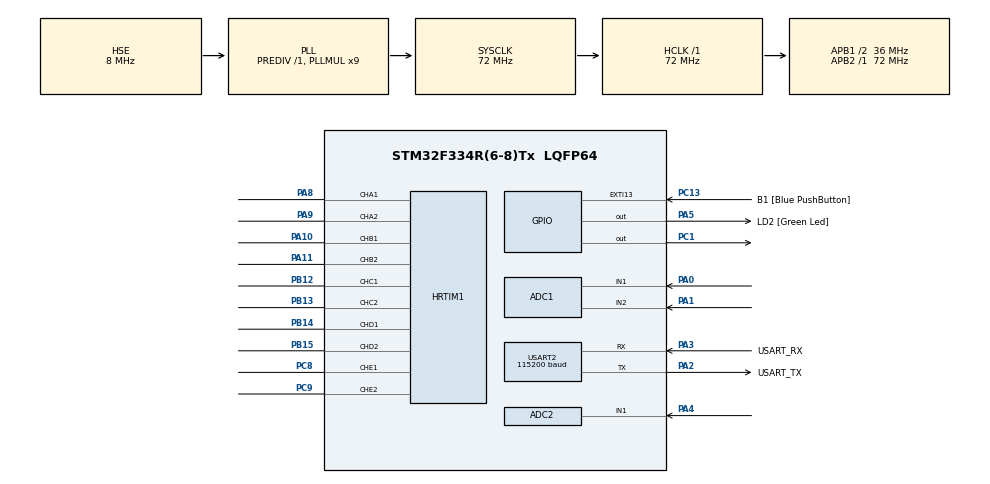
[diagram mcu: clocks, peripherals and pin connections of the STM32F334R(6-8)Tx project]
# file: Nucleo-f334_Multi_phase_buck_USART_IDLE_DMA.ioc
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ADC1.Channel-8\#ChannelRegularConversion=ADC_CHANNEL_1
ADC1.Channel-9\#ChannelRegularConversion=ADC_CHANNEL_2
ADC1.ContinuousConvMode=DISABLE
ADC1.DMAContinuousRequests=ENABLE
ADC1.DiscontinuousConvMode=ENABLE
ADC1.EOCSelection=ADC_EOC_SEQ_CONV
ADC1.EnableInjectedConversion=DISABLE
ADC1.EnableRegularConversion=ENABLE
ADC1.ExternalTrigConv=ADC_EXTERNALTRIGCONVHRTIM_TRG1
ADC1.Mode=ADC_MODE_INDEPENDENT
ADC1.NbrOfConversion=2
ADC1.NbrOfConversionFlag=1
ADC1.NbrOfDiscConversion=2
ADC1.Offset-8\#ChannelRegularConversion=0
ADC1.Offset-9\#ChannelRegularConversion=0
ADC1.OffsetNumber-8\#ChannelRegularConversion=ADC_OFFSET_NONE
ADC1.OffsetNumber-9\#ChannelRegularConversion=ADC_OFFSET_NONE
ADC1.Rank-8\#ChannelRegularConversion=1
ADC1.Rank-9\#ChannelRegularConversion=2
ADC1.SamplingTime-8\#ChannelRegularConversion=ADC_SAMPLETIME_7CYCLES_5
ADC1.SamplingTime-9\#ChannelRegularConversion=ADC_SAMPLETIME_7CYCLES_5
ADC1.SubFamily=STM32F334x8
ADC1.master=1
ADC2.Channel-1\#ChannelRegularConversion=ADC_CHANNEL_1
ADC2.EnableInjectedConversion=DISABLE
ADC2.ExternalTrigConv=ADC_EXTERNALTRIGCONVHRTIM_TRG1
ADC2.NbrOfConversion=1
ADC2.NbrOfConversionFlag=1
ADC2.Offset-1\#ChannelRegularConversion=0
ADC2.OffsetNumber-1\#ChannelRegularConversion=ADC_OFFSET_NONE
ADC2.Rank-1\#ChannelRegularConversion=1
ADC2.SamplingTime-1\#ChannelRegularConversion=ADC_SAMPLETIME_4CYCLES_5
ADC2.SubFamily=STM32F334x8
Dma.ADC1.2.Direction=DMA_PERIPH_TO_MEMORY
Dma.ADC1.2.Instance=DMA1_Channel1
Dma.ADC1.2.MemDataAlignment=DMA_MDATAALIGN_HALFWORD
Dma.ADC1.2.MemInc=DMA_MINC_ENABLE
Dma.ADC1.2.Mode=DMA_CIRCULAR
Dma.ADC1.2.PeriphDataAlignment=DMA_PDATAALIGN_HALFWORD
Dma.ADC1.2.PeriphInc=DMA_PINC_DISABLE
Dma.ADC1.2.Priority=DMA_PRIORITY_LOW
Dma.Request0=USART2_RX
Dma.Request1=USART2_TX
Dma.Request2=ADC1
Dma.USART2_RX.0.Direction=DMA_PERIPH_TO_MEMORY
Dma.USART2_RX.0.Instance=DMA1_Channel6
Dma.USART2_RX.0.MemDataAlignment=DMA_MDATAALIGN_BYTE
Dma.USART2_RX.0.MemInc=DMA_MINC_ENABLE
Dma.USART2_RX.0.Mode=DMA_NORMAL
Dma.USART2_RX.0.PeriphDataAlignment=DMA_PDATAALIGN_BYTE
Dma.USART2_RX.0.PeriphInc=DMA_PINC_DISABLE
Dma.USART2_RX.0.Priority=DMA_PRIORITY_LOW
Dma.USART2_TX.1.Direction=DMA_MEMORY_TO_PERIPH
Dma.USART2_TX.1.Instance=DMA1_Channel7
Dma.USART2_TX.1.MemDataAlignment=DMA_MDATAALIGN_BYTE
Dma.USART2_TX.1.MemInc=DMA_MINC_ENABLE
Dma.USART2_TX.1.Mode=DMA_NORMAL
Dma.USART2_TX.1.PeriphDataAlignment=DMA_PDATAALIGN_BYTE
Dma.USART2_TX.1.PeriphInc=DMA_PINC_DISABLE
Dma.USART2_TX.1.Priority=DMA_PRIORITY_LOW
HRTIM1.ADCTrigger1_Source1=HRTIM_ADCTRIGGEREVENT13_MASTER_CMP1
HRTIM1.ADCTrigger1_Source2=HRTIM_ADCTRIGGEREVENT13_MASTER_CMP3
HRTIM1.ADCTrigger2_Source1=HRTIM_ADCTRIGGEREVENT24_TIMERC_CMP2
HRTIM1.ADCTrigger2_Source2=HRTIM_ADCTRIGGEREVENT24_TIMERD_CMP2
HRTIM1.ADCTrigger3_Source1=HRTIM_ADCTRIGGEREVENT13_TIMERE_CMP2
HRTIM1.ADCTrigger_Id1=HRTIM_ADCTRIGGER_1
HRTIM1.ADCTrigger_Id2=__NULL
HRTIM1.ADCTrigger_Id3=__NULL
HRTIM1.AutoDelayedMode2-Output_TC1TC2=HRTIM_AUTODELAYEDMODE_REGULAR
HRTIM1.CompareUnit1-MasterTimer=HRTIM_COMPAREUNIT_1
HRTIM1.CompareUnit1-Output_TA1TA2=HRTIM_COMPAREUNIT_1
HRTIM1.CompareUnit1-Output_TB1TB2=HRTIM_COMPAREUNIT_1
HRTIM1.CompareUnit1-Output_TC1TC2=HRTIM_COMPAREUNIT_1
HRTIM1.CompareUnit1-Output_TD1TD2=HRTIM_COMPAREUNIT_1
HRTIM1.CompareUnit1-Output_TE1TE2=HRTIM_COMPAREUNIT_1
HRTIM1.CompareUnit2-MasterTimer=HRTIM_COMPAREUNIT_2
HRTIM1.CompareUnit2-Output_TA1TA2=__NULL
HRTIM1.CompareUnit2-Output_TB1TB2=__NULL
HRTIM1.CompareUnit2-Output_TC1TC2=__NULL
HRTIM1.CompareUnit2-Output_TD1TD2=__NULL
HRTIM1.CompareUnit2-Output_TE1TE2=__NULL
HRTIM1.CompareUnit3-MasterTimer=HRTIM_COMPAREUNIT_3
HRTIM1.CompareValue1-MasterTimer=500
HRTIM1.CompareValue1-Output_TA1TA2=0x4FDF
HRTIM1.CompareValue1-Output_TB1TB2=0x4FDF
HRTIM1.CompareValue1-Output_TC1TC2=0x5FDF
HRTIM1.CompareValue1-Output_TD1TD2=0x5FDF
HRTIM1.CompareValue1-Output_TE1TE2=0x6FDF
HRTIM1.CompareValue2-MasterTimer=32000
HRTIM1.CompareValue2-Output_TA1TA2=0x4FEF
HRTIM1.CompareValue2-Output_TB1TB2=0x4FEF
HRTIM1.CompareValue2-Output_TC1TC2=0x5FEF
HRTIM1.CompareValue2-Output_TD1TD2=0x5FEF
HRTIM1.CompareValue2-Output_TE1TE2=0x6FEF
HRTIM1.CompareValue3-MasterTimer=32500
HRTIM1.DeadTimeInsertion-Output_TA1TA2=HRTIM_TIMDEADTIMEINSERTION_ENABLED
HRTIM1.DeadTimeInsertion-Output_TB1TB2=HRTIM_TIMDEADTIMEINSERTION_ENABLED
HRTIM1.DeadTimeInsertion-Output_TC1TC2=HRTIM_TIMDEADTIMEINSERTION_ENABLED
HRTIM1.DeadTimeInsertion-Output_TD1TD2=HRTIM_TIMDEADTIMEINSERTION_ENABLED
HRTIM1.DeadTimeInsertion-Output_TE1TE2=HRTIM_TIMDEADTIMEINSERTION_ENABLED
HRTIM1.Deadtimeconfig-Output_TA1TA2=HRTIM_TIMERINDEX_TIMER_A
HRTIM1.Event_EEV1=__NULL
HRTIM1.FallingLock-Output_TA1TA2=HRTIM_TIMDEADTIME_FALLINGLOCK_READONLY
HRTIM1.FallingLock-Output_TB1TB2=HRTIM_TIMDEADTIME_FALLINGLOCK_READONLY
HRTIM1.FallingLock-Output_TC1TC2=HRTIM_TIMDEADTIME_FALLINGLOCK_READONLY
HRTIM1.FallingLock-Output_TD1TD2=HRTIM_TIMDEADTIME_FALLINGLOCK_READONLY
HRTIM1.FallingLock-Output_TE1TE2=HRTIM_TIMDEADTIME_FALLINGLOCK_READONLY
HRTIM1.FallingSignLock-Output_TA1TA2=HRTIM_TIMDEADTIME_FALLINGSIGNLOCK_READONLY
HRTIM1.FallingSignLock-Output_TB1TB2=HRTIM_TIMDEADTIME_FALLINGSIGNLOCK_READONLY
HRTIM1.FallingSignLock-Output_TC1TC2=HRTIM_TIMDEADTIME_FALLINGSIGNLOCK_READONLY
HRTIM1.FallingSignLock-Output_TD1TD2=HRTIM_TIMDEADTIME_FALLINGSIGNLOCK_READONLY
HRTIM1.FallingSignLock-Output_TE1TE2=HRTIM_TIMDEADTIME_FALLINGSIGNLOCK_READONLY
HRTIM1.FallingValue-Output_TA1TA2=100
HRTIM1.FallingValue-Output_TB1TB2=100
HRTIM1.FallingValue-Output_TC1TC2=100
HRTIM1.FallingValue-Output_TD1TD2=100
HRTIM1.FallingValue-Output_TE1TE2=100
HRTIM1.HalfModeEnable-Output_TA1TA2=HRTIM_HALFMODE_DISABLED
HRTIM1.ModeTimeBase-Output_TA1TA2=HRTIM_MODE_SINGLESHOT_RETRIGGERABLE
HRTIM1.NumberADCTriggerSource1=2
HRTIM1.NumberADCTriggerSource2=2
HRTIM1.NumberADCTriggerSource3=1
HRTIM1.NumberResetSource1-Output_TA1TA2=1
HRTIM1.NumberResetSource1-Output_TB1TB2=1
HRTIM1.NumberResetSource1-Output_TC1TC2=1
HRTIM1.NumberResetSource1-Output_TD1TD2=1
HRTIM1.NumberResetSource1-Output_TE1TE2=1
HRTIM1.NumberResetTrigger-Output_TA1TA2=1
HRTIM1.NumberResetTrigger-Output_TB1TB2=1
HRTIM1.NumberResetTrigger-Output_TC1TC2=1
HRTIM1.NumberResetTrigger-Output_TD1TD2=1
HRTIM1.NumberResetTrigger-Output_TE1TE2=1
HRTIM1.NumberSetSource1-Output_TA1TA2=1
HRTIM1.NumberSetSource1-Output_TB1TB2=1
HRTIM1.NumberSetSource1-Output_TC1TC2=1
HRTIM1.NumberSetSource1-Output_TD1TD2=1
HRTIM1.NumberSetSource1-Output_TE1TE2=1
HRTIM1.ORingUpdateSource_ADCTrigger1=HRTIM_ADCTRIGGERUPDATE_MASTER
HRTIM1.ORingUpdateSource_ADCTrigger2=HRTIM_ADCTRIGGERUPDATE_TIMER_C
HRTIM1.ORingUpdateSource_ADCTrigger3=HRTIM_ADCTRIGGERUPDATE_TIMER_E
HRTIM1.Periode_MASTER=64000
HRTIM1.ResetOutput1_Source1-Output_TA1TA2=HRTIM_OUTPUTRESET_TIMCMP1
HRTIM1.ResetOutput1_Source1-Output_TB1TB2=HRTIM_OUTPUTRESET_TIMCMP1
HRTIM1.ResetOutput1_Source1-Output_TC1TC2=HRTIM_OUTPUTRESET_TIMCMP1
HRTIM1.ResetOutput1_Source1-Output_TD1TD2=HRTIM_OUTPUTRESET_TIMCMP1
HRTIM1.ResetOutput1_Source1-Output_TE1TE2=HRTIM_OUTPUTRESET_TIMCMP1
HRTIM1.ResetTrigger1-Output_TA1TA2=HRTIM_TIMRESETTRIGGER_MASTER_PER
HRTIM1.ResetTrigger1-Output_TB1TB2=HRTIM_TIMRESETTRIGGER_MASTER_CMP2
HRTIM1.ResetTrigger1-Output_TC1TC2=HRTIM_TIMRESETTRIGGER_MASTER_PER
HRTIM1.ResetTrigger1-Output_TD1TD2=HRTIM_TIMRESETTRIGGER_MASTER_CMP2
HRTIM1.ResetTrigger1-Output_TE1TE2=HRTIM_TIMRESETTRIGGER_MASTER_PER
HRTIM1.RisingLock-Output_TA1TA2=HRTIM_TIMDEADTIME_RISINGLOCK_READONLY
HRTIM1.RisingLock-Output_TB1TB2=HRTIM_TIMDEADTIME_RISINGLOCK_READONLY
HRTIM1.RisingLock-Output_TC1TC2=HRTIM_TIMDEADTIME_RISINGLOCK_READONLY
HRTIM1.RisingLock-Output_TD1TD2=HRTIM_TIMDEADTIME_RISINGLOCK_READONLY
HRTIM1.RisingLock-Output_TE1TE2=HRTIM_TIMDEADTIME_RISINGLOCK_READONLY
HRTIM1.RisingSignLock-Output_TA1TA2=HRTIM_TIMDEADTIME_RISINGSIGNLOCK_READONLY
HRTIM1.RisingSignLock-Output_TB1TB2=HRTIM_TIMDEADTIME_RISINGSIGNLOCK_READONLY
HRTIM1.RisingSignLock-Output_TC1TC2=HRTIM_TIMDEADTIME_RISINGSIGNLOCK_READONLY
HRTIM1.RisingSignLock-Output_TD1TD2=HRTIM_TIMDEADTIME_RISINGSIGNLOCK_READONLY
HRTIM1.RisingSignLock-Output_TE1TE2=HRTIM_TIMDEADTIME_RISINGSIGNLOCK_READONLY
HRTIM1.RisingValue-Output_TA1TA2=100
HRTIM1.RisingValue-Output_TB1TB2=100
HRTIM1.RisingValue-Output_TC1TC2=100
HRTIM1.RisingValue-Output_TD1TD2=100
HRTIM1.RisingValue-Output_TE1TE2=100
HRTIM1.SetOutput1_Source1-Output_TA1TA2=HRTIM_OUTPUTSET_TIMPER
HRTIM1.SetOutput1_Source1-Output_TB1TB2=HRTIM_OUTPUTSET_TIMPER
HRTIM1.SetOutput1_Source1-Output_TC1TC2=HRTIM_OUTPUTSET_TIMPER
HRTIM1.SetOutput1_Source1-Output_TD1TD2=HRTIM_OUTPUTSET_TIMPER
HRTIM1.SetOutput1_Source1-Output_TE1TE2=HRTIM_OUTPUTSET_TIMPER
Mcu.Family=STM32F3
Mcu.Name=STM32F334R(6-8)Tx
Mcu.Package=LQFP64
NVIC.DMA1_Channel1_IRQn=true\:0\:0\:false\:false\:true\:false\:true
NVIC.DMA1_Channel6_IRQn=true\:0\:0\:false\:false\:true\:false\:true
NVIC.DMA1_Channel7_IRQn=true\:0\:0\:false\:false\:true\:false\:true
NVIC.PriorityGroup=NVIC_PRIORITYGROUP_0
NVIC.USART2_IRQn=true\:0\:0\:false\:false\:true\:true\:true
PA0.Mode=IN1-Single-Ended
PA0.Signal=ADC1_IN1
PA1.Mode=IN2-Single-Ended
PA1.Signal=ADC1_IN2
PA10.Mode=Output_TB1TB2
PA10.Signal=HRTIM1_CHB1
PA11.Mode=Output_TB1TB2
PA11.Signal=HRTIM1_CHB2
PA13.GPIO_Label=TMS
PA13.Mode=Serial_Wire
PA13.Signal=SYS_JTMS-SWDIO
PA14.GPIO_Label=TCK
PA14.Mode=Serial_Wire
PA14.Signal=SYS_JTCK-SWCLK
PA2.GPIO_Label=USART_TX
PA2.Mode=Asynchronous
PA2.Signal=USART2_TX
PA3.GPIO_Label=USART_RX
PA3.Mode=Asynchronous
PA3.Signal=USART2_RX
PA4.Mode=IN1-Single-Ended
PA4.Signal=ADC2_IN1
PA5.GPIO_Label=LD2 [Green Led]
PA5.Signal=GPIO_Output
PA8.Mode=Output_TA1TA2
PA8.Signal=HRTIM1_CHA1
PA9.Mode=Output_TA1TA2
PA9.Signal=HRTIM1_CHA2
PB12.Mode=Output_TC1TC2
PB12.Signal=HRTIM1_CHC1
PB13.Mode=Output_TC1TC2
PB13.Signal=HRTIM1_CHC2
PB14.Mode=Output_TD1TD2
PB14.Signal=HRTIM1_CHD1
PB15.Mode=Output_TD1TD2
PB15.Signal=HRTIM1_CHD2
PB3.GPIO_Label=SWO
PB3.Signal=SYS_JTDO-TRACESWO
PC1.Signal=GPIO_Output
PC13.GPIO_Label=B1 [Blue PushButton]
PC13.GPIO_ModeDefaultEXTI=GPIO_MODE_IT_FALLING
PC13.Signal=GPXTI13
PC14\ /\ OSC32_IN.Mode=LSE-External-Oscillator
PC14\ /\ OSC32_IN.Signal=RCC_OSC32_IN
PC15\ /\ OSC32_OUT.GPIO_Label=RCC_OSC32_OUT
PC15\ /\ OSC32_OUT.Mode=LSE-External-Oscillator
PC15\ /\ OSC32_OUT.Signal=RCC_OSC32_OUT
PC8.Mode=Output_TE1TE2
PC8.Signal=HRTIM1_CHE1
PC9.Mode=Output_TE1TE2
PC9.Signal=HRTIM1_CHE2
PF0\ /\ OSC_IN.Mode=HSE-External-Clock-Source
PF0\ /\ OSC_IN.Signal=RCC_OSC_IN
PF1\ /\ OSC_OUT.Signal=RCC_OSC_OUT
ProjectManager.HeapSize=0x200
ProjectManager.StackSize=0x400
ProjectManager.TargetToolchain=SW4STM32
RCC.AHBFreq_Value=72000000
RCC.APB1CLKDivider=RCC_HCLK_DIV2
RCC.APB1Freq_Value=36000000
RCC.APB1TimFreq_Value=72000000
RCC.APB2Freq_Value=72000000
RCC.APB2TimFreq_Value=72000000
RCC.CortexFreq_Value=72000000
RCC.FLatency-AdvancedSettings=FLASH_LATENCY_2
RCC.HCLKFreq_Value=72000000
RCC.HRTIMSelection=RCC_HRTIM1CLK_PLLCLK
RCC.HSE_VALUE=8000000
RCC.HSI_VALUE=8000000
RCC.PLLMUL=RCC_PLL_MUL9
RCC.PLLSourceVirtual=RCC_PLLSOURCE_HSE
RCC.SYSCLKFreq_VALUE=72000000
RCC.SYSCLKSourceVirtual=RCC_SYSCLKSOURCE_PLLCLK
RCC.TIM1Selection=RCC_TIM1CLK_PLLCLK
USART2.BaudRate=115200
USART2.VirtualMode-Asynchronous=VM_ASYNC
USART2.WordLength=WORDLENGTH_8B
VP_HRTIM1_VS_hrtimMasterTimerNoOutput.Mode=MasterTimer
board=NUCLEO-F334R8

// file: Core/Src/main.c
/* USER CODE BEGIN Header */
/**
 ******************************************************************************
 * @file           : main.c
 * @brief          : Main program body
 ******************************************************************************
 * @attention
 *
 * <h2><center>&copy; Copyright (c) 2019 STMicroelectronics.
 * All rights reserved.</center></h2>
 *
 * This software component is licensed by ST under BSD 3-Clause license,
 * the "License"; You may not use this file except in compliance with the
 * License. You may obtain a copy of the License at:
 *                        opensource.org/licenses/BSD-3-Clause
 *
 ******************************************************************************
 */
/* USER CODE END Header */

#include "main.h"
#include "adc.h"
#include "dma.h"
#include "hrtim.h"
#include "usart.h"
#include "gpio.h"

/* USER CODE BEGIN Includes */
#include <stdio.h>
#include <stdlib.h>
#include <string.h>
/* USER CODE END Includes */

/* USER CODE BEGIN PTD */

typedef enum PARSE_STATE {
	StateParseSTOPPED = 0x00,
	StateParseIDLE = 0x01,
	StateParseBUSY0 = 0x02,
	StateParseERROR = 0x04,
} parseState_t;

typedef struct PARSE_CONTEXT {
	parseState_t ParseState;

} parseContext_t;

typedef enum COMM_STATE {
	StateCommSTOPPED = 0x00,
	StateCommIDLE = 0x01,
	StateCommBUSY0 = 0x02,
	StateSetDataBuffer = 0x04,
	StateSetSdouBuffer = 0x08,
	StateResetDataBuffer = 0x0F,
	StateResetSdoBuffer = 0x10,
	StateCommERROR = 0x40,
} commState_t;

typedef struct COMM_CONTEXT {
	commState_t CommState;
	cBufferHandler_t * CurrentBuffer;
} commContext_t;

/* USER CODE END PTD */

/* USER CODE BEGIN PV */
uint16_t posicionTargetX = 0; // valor de la pwm a usar como input (ancho), se usa el valor de numeroRecivido
uint16_t posicionTargetY = 0; // valor de la pwm a usar como input (ancho), se usa el valor de numeroRecivido
uint16_t posicionTargetZ = 0; // valor de la pwm a usar como input (ancho), se usa el valor de numeroRecivido
uint16_t phase = 0;
float frecuency = 1500000.0;

extern uint8_t sdin_buffer[SDIN_BUFFER_SIZE];
extern volatile BufferStateTypeDef SdInBufferState;
extern cBufferHandler_t TxbufferHandler;

extern bufferType_t CurrentBufferType;

extern HRTIM_HandleTypeDef hhrtim1;

/* USER CODE END PV */

void SystemClock_Config(void);
/* USER CODE BEGIN PFP */
void parse_task();
void parseInitialize(parseContext_t * parseContext);

void comm_task();
void commInitialize(commContext_t * commContext);

void setpidTargetX(float posicioTarget);
void setpidTargetY(float posicioTarget);
void setpidTargetZ(float posicioTarget);

/* USER CODE END PFP */

int main(void) {

	/* MCU Configuration--------------------------------------------------------*/

	/* Reset of all peripherals, Initializes the Flash interface and the Systick. */
	HAL_Init();

	/* Configure the system clock */
	SystemClock_Config();

	/* Initialize all configured peripherals */
	MX_GPIO_Init();
	MX_DMA_Init();
	MX_USART2_UART_Init();
	MX_HRTIM1_Init();
	MX_ADC1_Init();
	MX_ADC2_Init();

	// primero se abre la comunicación antes de entrar al while, allí una vez que se recivió y se seteó la pwm,
	//se vuelve a abrir el receive para que constantemente se pueda mandar datos.
	ReceptionStart();
	/* Infinite loop */
	/* USER CODE BEGIN WHILE */

	while (1) {
		comm_task();		// tarea de comunicacion con la pc
		parse_task();		// tarea de control del PWM

	}
}

void SystemClock_Config(void) {
	RCC_OscInitTypeDef RCC_OscInitStruct = { 0 };
	RCC_ClkInitTypeDef RCC_ClkInitStruct = { 0 };
	RCC_PeriphCLKInitTypeDef PeriphClkInit = { 0 };

	/** Initializes the CPU, AHB and APB busses clocks
	 */
	RCC_OscInitStruct.OscillatorType = RCC_OSCILLATORTYPE_HSE;
	RCC_OscInitStruct.HSEState = RCC_HSE_BYPASS;
	RCC_OscInitStruct.HSEPredivValue = RCC_HSE_PREDIV_DIV1;
	RCC_OscInitStruct.HSIState = RCC_HSI_ON;
	RCC_OscInitStruct.PLL.PLLState = RCC_PLL_ON;
	RCC_OscInitStruct.PLL.PLLSource = RCC_PLLSOURCE_HSE;
	RCC_OscInitStruct.PLL.PLLMUL = RCC_PLL_MUL9;
	if (HAL_RCC_OscConfig(&RCC_OscInitStruct) != HAL_OK) {
		Error_Handler();
	}
	/** Initializes the CPU, AHB and APB busses clocks
	 */
	RCC_ClkInitStruct.ClockType = RCC_CLOCKTYPE_HCLK | RCC_CLOCKTYPE_SYSCLK
			| RCC_CLOCKTYPE_PCLK1 | RCC_CLOCKTYPE_PCLK2;
	RCC_ClkInitStruct.SYSCLKSource = RCC_SYSCLKSOURCE_PLLCLK;
	RCC_ClkInitStruct.AHBCLKDivider = RCC_SYSCLK_DIV1;
	RCC_ClkInitStruct.APB1CLKDivider = RCC_HCLK_DIV2;
	RCC_ClkInitStruct.APB2CLKDivider = RCC_HCLK_DIV1;

	if (HAL_RCC_ClockConfig(&RCC_ClkInitStruct, FLASH_LATENCY_2) != HAL_OK) {
		Error_Handler();
	}
	PeriphClkInit.PeriphClockSelection = RCC_PERIPHCLK_HRTIM1;
	PeriphClkInit.Hrtim1ClockSelection = RCC_HRTIM1CLK_PLLCLK;
	if (HAL_RCCEx_PeriphCLKConfig(&PeriphClkInit) != HAL_OK) {
		Error_Handler();
	}
}

/* USER CODE BEGIN 4 */

void parse_task() {
	static parseContext_t parseContext = { .ParseState = StateParseSTOPPED, };

	switch (parseContext.ParseState) {
	case StateParseSTOPPED:
		parseInitialize(&parseContext);

		break;
	case StateParseIDLE:
		if (sdinIsBusy() == BUFFER_busy) {
			parseContext.ParseState = StateParseBUSY0;
		}
		break;
	case StateParseBUSY0:
		HAL_GPIO_TogglePin(GPIOA, GPIO_PIN_5);

		switch (sdin_buffer[0]) {
		case 'S':
		case 's':
			if (sdin_buffer[2] == 'A' || sdin_buffer[2] == 'a') {
				HAL_HRTIM_SimpleBaseStart(&hhrtim1, HRTIM_TIMERINDEX_MASTER);
				HAL_HRTIM_SimplePWMStart(&hhrtim1, HRTIM_TIMERINDEX_TIMER_A,
				HRTIM_OUTPUT_TA1);
				HAL_HRTIM_SimplePWMStart(&hhrtim1, HRTIM_TIMERINDEX_TIMER_A,
				HRTIM_OUTPUT_TA2);
				HAL_HRTIM_SimplePWMStart(&hhrtim1, HRTIM_TIMERINDEX_TIMER_B,
				HRTIM_OUTPUT_TB1);
				HAL_HRTIM_SimplePWMStart(&hhrtim1, HRTIM_TIMERINDEX_TIMER_B,
				HRTIM_OUTPUT_TB2);
				HAL_HRTIM_SimplePWMStart(&hhrtim1, HRTIM_TIMERINDEX_TIMER_C,
				HRTIM_OUTPUT_TC1);
				HAL_HRTIM_SimplePWMStart(&hhrtim1, HRTIM_TIMERINDEX_TIMER_C,
				HRTIM_OUTPUT_TC2);
				HAL_HRTIM_SimplePWMStart(&hhrtim1, HRTIM_TIMERINDEX_TIMER_D,
				HRTIM_OUTPUT_TD1);
				HAL_HRTIM_SimplePWMStart(&hhrtim1, HRTIM_TIMERINDEX_TIMER_D,
				HRTIM_OUTPUT_TD2);
				HAL_HRTIM_SimplePWMStart(&hhrtim1, HRTIM_TIMERINDEX_TIMER_E,
				HRTIM_OUTPUT_TE1);
				HAL_HRTIM_SimplePWMStart(&hhrtim1, HRTIM_TIMERINDEX_TIMER_E,
				HRTIM_OUTPUT_TE2);
			} else if (sdin_buffer[2] == 'O' || sdin_buffer[2] == 'o') {
				HAL_HRTIM_SimpleBaseStop(&hhrtim1, HRTIM_TIMERINDEX_MASTER);
				HAL_HRTIM_SimplePWMStop(&hhrtim1, HRTIM_TIMERINDEX_TIMER_A,
				HRTIM_OUTPUT_TA1);
				HAL_HRTIM_SimplePWMStop(&hhrtim1, HRTIM_TIMERINDEX_TIMER_A,
				HRTIM_OUTPUT_TA2);
				HAL_HRTIM_SimplePWMStop(&hhrtim1, HRTIM_TIMERINDEX_TIMER_B,
				HRTIM_OUTPUT_TB1);
				HAL_HRTIM_SimplePWMStop(&hhrtim1, HRTIM_TIMERINDEX_TIMER_B,
				HRTIM_OUTPUT_TB2);
				HAL_HRTIM_SimplePWMStop(&hhrtim1, HRTIM_TIMERINDEX_TIMER_C,
				HRTIM_OUTPUT_TC1);
				HAL_HRTIM_SimplePWMStop(&hhrtim1, HRTIM_TIMERINDEX_TIMER_C,
				HRTIM_OUTPUT_TC2);
				HAL_HRTIM_SimplePWMStop(&hhrtim1, HRTIM_TIMERINDEX_TIMER_D,
				HRTIM_OUTPUT_TD1);
				HAL_HRTIM_SimplePWMStop(&hhrtim1, HRTIM_TIMERINDEX_TIMER_D,
				HRTIM_OUTPUT_TD2);
				HAL_HRTIM_SimplePWMStop(&hhrtim1, HRTIM_TIMERINDEX_TIMER_E,
				HRTIM_OUTPUT_TE1);
				HAL_HRTIM_SimplePWMStop(&hhrtim1, HRTIM_TIMERINDEX_TIMER_E,
				HRTIM_OUTPUT_TE2);
			}
			break;
		case 'X':
		case 'x':
			posicionTargetX = atof((char const *) (sdin_buffer + 1));
			__HAL_HRTIM_SETCOMPARE(&hhrtim1, HRTIM_TIMERINDEX_TIMER_A,
					HRTIM_COMPAREUNIT_1, posicionTargetX);
			__HAL_HRTIM_SETCOMPARE(&hhrtim1, HRTIM_TIMERINDEX_TIMER_B,
					HRTIM_COMPAREUNIT_1, posicionTargetX);
			break;
		case 'Y':
		case 'y':
			posicionTargetY = atof((char const *) (sdin_buffer + 1));
			__HAL_HRTIM_SETCOMPARE(&hhrtim1, HRTIM_TIMERINDEX_TIMER_C,
					HRTIM_COMPAREUNIT_1, posicionTargetY);
			__HAL_HRTIM_SETCOMPARE(&hhrtim1, HRTIM_TIMERINDEX_TIMER_D,
					HRTIM_COMPAREUNIT_1, posicionTargetY);
			break;
		case 'Z':
		case 'z':
			posicionTargetZ = atof((char const *) (sdin_buffer + 1));

			__HAL_HRTIM_SETCOMPARE(&hhrtim1, HRTIM_TIMERINDEX_TIMER_E,
					HRTIM_COMPAREUNIT_1, posicionTargetZ);
			break;
		case 'P':
		case 'p':
			phase = atoi((char const *) (sdin_buffer + 1));
			break;
		case 'F':
		case 'f':
			frecuency = atof((char const *) (sdin_buffer + 1));
//			__HAL_HRTIM_SETPERIOD
			break;
		default:
			printf("Comando Desconocido\n\r");
			;
		}

		printf("Receive: %s \n\rPhase %d \n\rX %d \n\r", sdin_buffer, phase, posicionTargetX);
		SdInBufferState = BUFFER_idle;
		parseContext.ParseState = StateParseIDLE;
		break;
	case StateParseERROR:
		printf("\n\n\rParse Error: %s \n\r", sdin_buffer);
		break;

	}

}

void setpidTargetX(float posicioTargetX) {
	/*
	 * Crear codigo para el PID que controla el eje X
	 *
	 * */
}

void setpidTargetY(float posicioTargetY) {
	/*
	 * Crear codigo para el PID que controla el eje Y
	 *
	 * */
}

void setpidTargetZ(float posicioTargetZ) {
	/*
	 * Crear codigo para el PID que controla el eje Z
	 *
	 * */
}

void parseInitialize(parseContext_t * parseContext) {
	parseContext->ParseState = StateParseIDLE;
}

void parseBusy0() {
	if (sdinIsBusy() == BUFFER_busy) {
		HAL_GPIO_TogglePin(GPIOA, GPIO_PIN_5);
		printf("\n\n\rReceive complete: %s \n\n\r", sdin_buffer);
		SdInBufferState = BUFFER_idle;
	}
}

void comm_task() {
	static commState_t requestState = StateCommIDLE;
	static commContext_t commContext = { .CommState = StateCommSTOPPED, };
	switch (commContext.CommState) {
	case StateCommSTOPPED:
		commInitialize(&commContext);
		break;
	case StateCommIDLE:
		if (commContext.CurrentBuffer->BufferState == BUFFER_idle) {
			commContext.CommState = requestState;
			if (commContext.CommState == StateCommIDLE) {
				if (commContext.CurrentBuffer->BufferDataLength > 0) {
					TransmitionStart(commContext.CurrentBuffer);
				}
			} else {
				requestState = StateCommIDLE;
			}
		}
		break;
	case StateCommBUSY0:
		break;
	case StateSetDataBuffer:
		if (commContext.CurrentBuffer->BufferState == BUFFER_idle) {
			commContext.CommState = StateCommIDLE;
		}
		break;
	case StateSetSdouBuffer:
		if (commContext.CurrentBuffer->BufferState == BUFFER_idle) {
			commContext.CurrentBuffer = &TxbufferHandler;
			CurrentBufferType = sdoutBufferType;
			commContext.CommState = StateCommIDLE;
		}
		break;
	case StateResetDataBuffer:
		if (commContext.CurrentBuffer->BufferState == BUFFER_idle) {
			commContext.CommState = StateCommIDLE;
		}
		break;
	case StateResetSdoBuffer:
		if (commContext.CurrentBuffer->BufferState == BUFFER_idle) {
			commContext.CommState = StateCommIDLE;
		}
		break;
	case StateCommERROR:
		break;
	}

}

void commInitialize(commContext_t * commContext) {
	commContext->CommState = StateCommIDLE;
	commContext->CurrentBuffer = &TxbufferHandler;
}

/* USER CODE END 4 */

void Error_Handler(void) {
}

/************************ (C) COPYRIGHT STMicroelectronics *****END OF FILE****/
